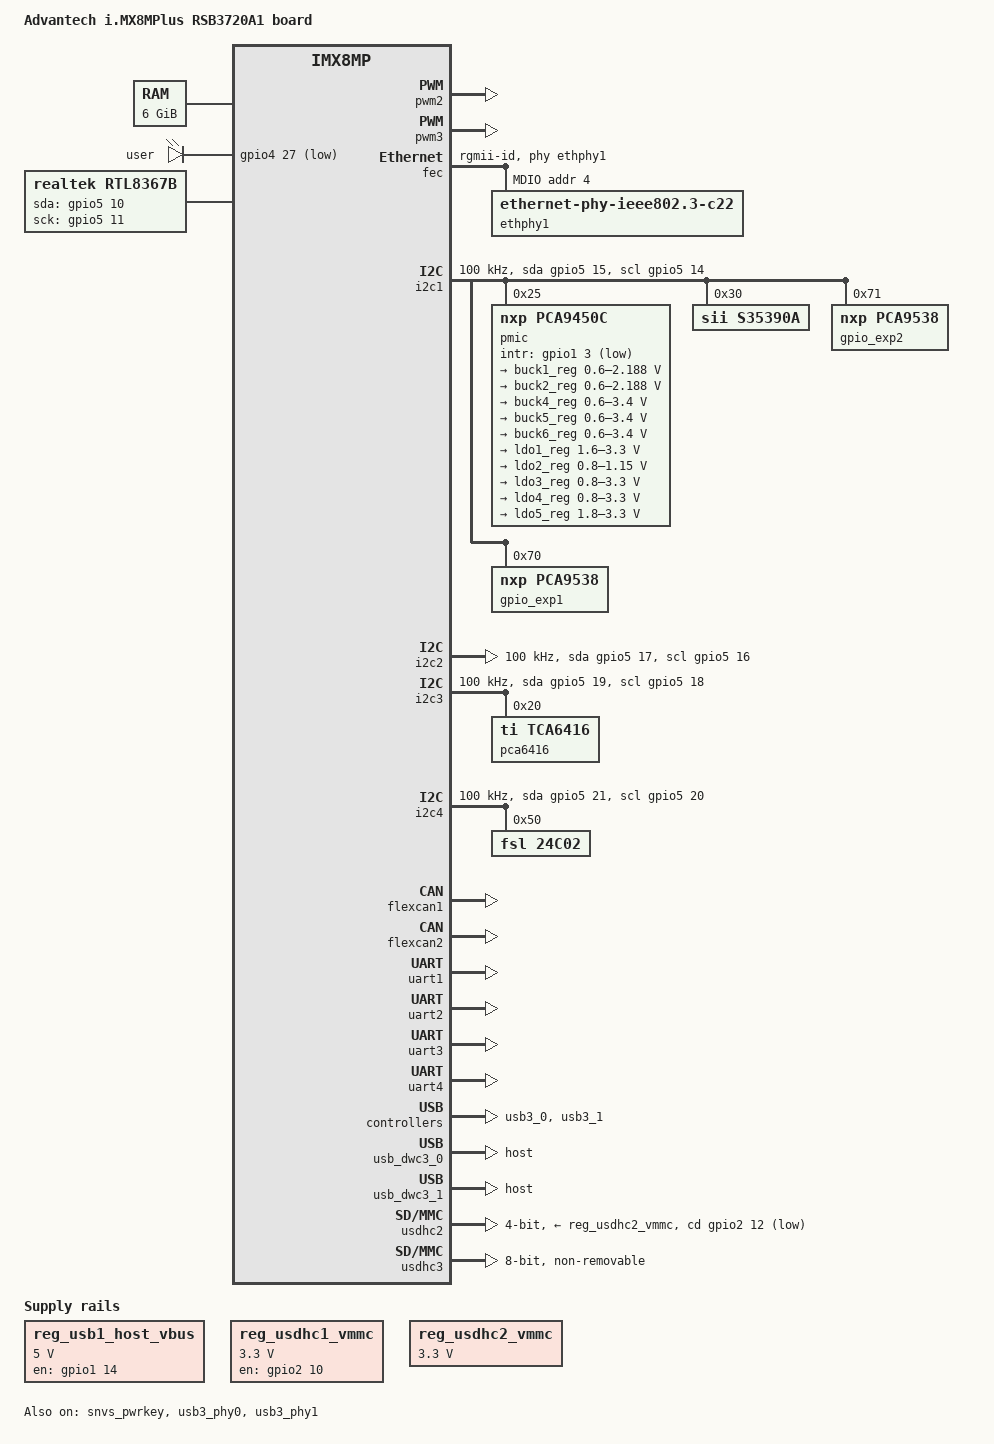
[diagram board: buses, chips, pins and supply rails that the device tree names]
// SPDX-License-Identifier: (GPL-2.0+ OR MIT)
/*
 * Copyright 2019 NXP
 * Copyright 2022 Linaro
 */

/dts-v1/;

#include <dt-bindings/usb/pd.h>
#include "imx8mp.dtsi"

/ {
	model = "Advantech i.MX8MPlus RSB3720A1 board";
	compatible = "fsl,imx8mp-evk", "fsl,imx8mp";

	aliases {
		rtc0 = &s35390a;
		rtc1 = &snvs_rtc;
	};

	chosen {
		stdout-path = &uart3;
	};

	memory@40000000 {
		device_type = "memory";
		reg = <0x0 0x40000000 0 0xc0000000>,
		      <0x1 0x00000000 0 0xc0000000>;
	};

	reserved-memory {
		#address-cells = <2>;
		#size-cells = <2>;
		ranges;

		rpmsg_reserved: rpmsg@0x55800000 {
			no-map;
			reg = <0 0x55800000 0 0x800000>;
		};
	};

	leds {
		compatible = "gpio-leds";
		pinctrl-names = "default";
		pinctrl-0 = <&pinctrl_gpio_led>;

		user {
			label = "user";
			gpios = <&gpio4 27 GPIO_ACTIVE_LOW>;
			default-state = "off"; /* LED BLUE */
		};
	};

	reg_usb1_host_vbus: regulator-usb1-vbus {
		compatible = "regulator-fixed";
		regulator-name = "usb1_host_vbus";
		pinctrl-names = "default";
		pinctrl-0 = <&pinctrl_usb1_vbus>;
		regulator-min-microvolt = <5000000>;
		regulator-max-microvolt = <5000000>;
		gpio = <&gpio1 14 GPIO_ACTIVE_HIGH>;
		enable-active-high;
		regulator-always-on;
	};

	reg_usdhc1_vmmc: regulator-usdhc1 {
		compatible = "regulator-fixed";
		regulator-name = "WLAN_EN";
		regulator-min-microvolt = <3300000>;
		regulator-max-microvolt = <3300000>;
		gpio = <&gpio2 10 GPIO_ACTIVE_HIGH>;
		enable-active-high;
		startup-delay-us = <100>;
		off-on-delay-us = <12000>;
	};

	reg_usdhc2_vmmc: regulator-usdhc2 {
		compatible = "regulator-fixed";
		regulator-name = "VSD_3V3";
		regulator-min-microvolt = <3300000>;
		regulator-max-microvolt = <3300000>;
		//gpio = <&gpio2 19 GPIO_ACTIVE_HIGH>;
		enable-active-high;
		startup-delay-us = <100>;
		off-on-delay-us = <12000>;
	};

	lvds_backlight0: lvds_backlight@0 {
		compatible = "pwm-backlight";
		pwms = <&pwm2 0 5000000>;
		status = "disabled";

		brightness-levels = < 0  1  2  3  4  5  6  7  8  9
				     10 11 12 13 14 15 16 17 18 19
				     20 21 22 23 24 25 26 27 28 29
				     30 31 32 33 34 35 36 37 38 39
				     40 41 42 43 44 45 46 47 48 49
				     50 51 52 53 54 55 56 57 58 59
				     60 61 62 63 64 65 66 67 68 69
				     70 71 72 73 74 75 76 77 78 79
				     80 81 82 83 84 85 86 87 88 89
				     90 91 92 93 94 95 96 97 98 99
				    100>;
		default-brightness-level = <80>;
	};

	lvds_backlight1: lvds_backlight@1 {
		compatible = "pwm-backlight";
		pwms = <&pwm3 0 5000000>;
		status = "disabled";

		brightness-levels = < 0  1  2  3  4  5  6  7  8  9
				     10 11 12 13 14 15 16 17 18 19
				     20 21 22 23 24 25 26 27 28 29
				     30 31 32 33 34 35 36 37 38 39
				     40 41 42 43 44 45 46 47 48 49
				     50 51 52 53 54 55 56 57 58 59
				     60 61 62 63 64 65 66 67 68 69
				     70 71 72 73 74 75 76 77 78 79
				     80 81 82 83 84 85 86 87 88 89
				     90 91 92 93 94 95 96 97 98 99
				    100>;
		default-brightness-level = <80>;
	};

	rtl8367 {
		compatible = "realtek,rtl8367b";
		pinctrl-names = "default";
		gpio-sda = <&gpio5 10 GPIO_ACTIVE_HIGH>;
		gpio-sck = <&gpio5 11 GPIO_ACTIVE_HIGH>;
		realtek,extif0 = <1 0 1 1 1 1 1 1 2>;
	};
};

&clk {
	init-on-array = <IMX8MP_CLK_HSIO_ROOT>;
};

&A53_0 {
	cpu-supply = <&buck2_reg>;
};

&pwm2 {
	pinctrl-names = "default";
	pinctrl-0 = <&pinctrl_pwm2>;
	#pwm-cells = <2>;
	status = "okay";
};

&pwm3 {
	pinctrl-names = "default";
	pinctrl-0 = <&pinctrl_pwm3>;
	#pwm-cells = <2>;
	status = "okay";
};

&fec {
	pinctrl-names = "default";
	pinctrl-0 = <&pinctrl_fec>;
	phy-mode = "rgmii-id";
	phy-handle = <&ethphy1>;
	fsl,magic-packet;
	status = "okay";

	mdio {
		#address-cells = <1>;
		#size-cells = <0>;

		ethphy1: ethernet-phy@4 {
			compatible = "ethernet-phy-ieee802.3-c22";
			reg = <4>;
			at803x,eee-disabled;
			at803x,vddio-1p8v;
		};
	};
};

&i2c1 {
	clock-frequency = <100000>;
	pinctrl-names = "default", "gpio";
	pinctrl-0 = <&pinctrl_i2c1>;
	pinctrl-1 = <&pinctrl_i2c1_gpio>;
	scl-gpios = <&gpio5 14 GPIO_ACTIVE_HIGH>;
	sda-gpios = <&gpio5 15 GPIO_ACTIVE_HIGH>;
	status = "okay";

	pmic: pca9450@25 {
		reg = <0x25>;
		compatible = "nxp,pca9450c", "nxp,pca9450b", "nxp,pca9450";
		/* PMIC PCA9450 PMIC_nINT GPIO1_IO3 */
		pinctrl-0 = <&pinctrl_pmic>;
		gpio_intr = <&gpio1 3 GPIO_ACTIVE_LOW>;

		regulators {
			#address-cells = <1>;
			#size-cells = <0>;

			pca9450,pmic-buck2-uses-i2c-dvs;
			/* Run/Standby voltage */
			pca9450,pmic-buck2-dvs-voltage = <950000>, <850000>;

			buck1_reg: regulator@0 {
				reg = <0>;
				regulator-compatible = "buck1";
				regulator-min-microvolt = <600000>;
				regulator-max-microvolt = <2187500>;
				regulator-boot-on;
				regulator-always-on;
				regulator-ramp-delay = <3125>;
			};

			buck2_reg: regulator@1 {
				reg = <1>;
				regulator-compatible = "buck2";
				regulator-min-microvolt = <600000>;
				regulator-max-microvolt = <2187500>;
				regulator-boot-on;
				regulator-always-on;
				regulator-ramp-delay = <3125>;
			};

			buck4_reg: regulator@3 {
				reg = <3>;
				regulator-compatible = "buck4";
				regulator-min-microvolt = <600000>;
				regulator-max-microvolt = <3400000>;
				regulator-boot-on;
				regulator-always-on;
			};

			buck5_reg: regulator@4 {
				reg = <4>;
				regulator-compatible = "buck5";
				regulator-min-microvolt = <600000>;
				regulator-max-microvolt = <3400000>;
				regulator-boot-on;
				regulator-always-on;
			};

			buck6_reg: regulator@5 {
				reg = <5>;
				regulator-compatible = "buck6";
				regulator-min-microvolt = <600000>;
				regulator-max-microvolt = <3400000>;
				regulator-boot-on;
				regulator-always-on;
			};

			ldo1_reg: regulator@6 {
				reg = <6>;
				regulator-compatible = "ldo1";
				regulator-min-microvolt = <1600000>;
				regulator-max-microvolt = <3300000>;
				regulator-boot-on;
				regulator-always-on;
			};

			ldo2_reg: regulator@7 {
				reg = <7>;
				regulator-compatible = "ldo2";
				regulator-min-microvolt = <800000>;
				regulator-max-microvolt = <1150000>;
				regulator-boot-on;
				regulator-always-on;
			};

			ldo3_reg: regulator@8 {
				reg = <8>;
				regulator-compatible = "ldo3";
				regulator-min-microvolt = <800000>;
				regulator-max-microvolt = <3300000>;
				regulator-boot-on;
				regulator-always-on;
			};

			ldo4_reg: regulator@9 {
				reg = <9>;
				regulator-compatible = "ldo4";
				regulator-min-microvolt = <800000>;
				regulator-max-microvolt = <3300000>;
				regulator-boot-on;
				regulator-always-on;
			};

			ldo5_reg: regulator@10 {
				reg = <10>;
				regulator-compatible = "ldo5";
				regulator-min-microvolt = <1800000>;
				regulator-max-microvolt = <3300000>;
			};
		};
	};

	s35390a: s35390a@30 {
		compatible = "sii,s35390a", "sii,s35392a";
		reg = <0x30>;
		status = "okay";
	};

	gpio_exp2: tca9538@71 {
		compatible = "nxp,pca9538";
		reg = <0x71>;
		gpio-controller;
		#gpio-cells = <2>;
	};

	gpio_exp1: tca9538@70 {
		compatible = "nxp,pca9538";
		reg = <0x70>;
		gpio-controller;
		#gpio-cells = <2>;
	};
};

&i2c2 {
	clock-frequency = <100000>;
	pinctrl-names = "default", "gpio";
	pinctrl-0 = <&pinctrl_i2c2>;
	pinctrl-1 = <&pinctrl_i2c2_gpio>;
	scl-gpios = <&gpio5 16 GPIO_ACTIVE_HIGH>;
	sda-gpios = <&gpio5 17 GPIO_ACTIVE_HIGH>;
	status = "okay";
};

&i2c3 {
	clock-frequency = <100000>;
	pinctrl-names = "default", "gpio";
	pinctrl-0 = <&pinctrl_i2c3>;
	pinctrl-1 = <&pinctrl_i2c3_gpio>;
	scl-gpios = <&gpio5 18 GPIO_ACTIVE_HIGH>;
	sda-gpios = <&gpio5 19 GPIO_ACTIVE_HIGH>;
	status = "okay";

	pca6416: gpio@20 {
		compatible = "ti,tca6416";
		reg = <0x20>;
		gpio-controller;
		#gpio-cells = <2>;
	};
};

&i2c4 {
	clock-frequency = <100000>;
	pinctrl-names = "default", "gpio";
	pinctrl-0 = <&pinctrl_i2c4>;
	pinctrl-1 = <&pinctrl_i2c4_gpio>;
	scl-gpios = <&gpio5 20 GPIO_ACTIVE_HIGH>;
	sda-gpios = <&gpio5 21 GPIO_ACTIVE_HIGH>;
	status = "okay";

	24c02@50 {
		compatible = "fsl,24c02";
		reg = <0x50>;
	};
};

&snvs_pwrkey {
	status = "okay";
};

&flexcan1 {
	pinctrl-names = "default";
	pinctrl-0 = <&pinctrl_flexcan1>;
	status = "okay";
};

&flexcan2 {
	pinctrl-names = "default";
	pinctrl-0 = <&pinctrl_flexcan2>;
	status = "okay";
};

&uart1 { /* BT */
	pinctrl-names = "default";
	pinctrl-0 = <&pinctrl_uart1>;
	assigned-clocks = <&clk IMX8MP_CLK_UART1>;
	assigned-clock-parents = <&clk IMX8MP_SYS_PLL1_80M>;
	fsl,uart-has-rtscts;
	status = "okay";
};

&uart2 {
	pinctrl-names = "default";
	pinctrl-0 = <&pinctrl_uart2>;
	status = "okay";
};

&uart3 {
	/* console */
	pinctrl-names = "default";
	pinctrl-0 = <&pinctrl_uart3>;
	assigned-clocks = <&clk IMX8MP_CLK_UART3>;
	assigned-clock-parents = <&clk IMX8MP_SYS_PLL1_80M>;
	fsl,uart-has-rtscts;
	status = "okay";
};

&uart4 {
	pinctrl-names = "default";
	pinctrl-0 = <&pinctrl_uart4>;
	status = "okay";
};

&usb3_phy0 {
	fsl,phy-tx-vref-tune = <6>;
	fsl,phy-tx-rise-tune = <0>;
	fsl,phy-tx-preemp-amp-tune = <3>;
	fsl,phy-comp-dis-tune = <7>;
	fsl,pcs-tx-deemph-3p5db = <0x21>;
	fsl,phy-pcs-tx-swing-full = <0x7f>;
	status = "okay";
};

&usb3_0 {
	status = "okay";
};

&usb_dwc3_0 {
	dr_mode = "host";
	status = "okay";
};

&usb3_phy1 {
	fsl,phy-tx-preemp-amp-tune = <2>;
	status = "okay";
};

&usb3_1 {
	status = "okay";
};

&usb_dwc3_1 {
	dr_mode = "host";
	status = "okay";
};

&usdhc2 {
	pinctrl-names = "default", "state_100mhz", "state_200mhz";
	pinctrl-0 = <&pinctrl_usdhc2>, <&pinctrl_usdhc2_gpio>;
	pinctrl-1 = <&pinctrl_usdhc2_100mhz>, <&pinctrl_usdhc2_gpio>;
	pinctrl-2 = <&pinctrl_usdhc2_200mhz>, <&pinctrl_usdhc2_gpio>;
	cd-gpios = <&gpio2 12 GPIO_ACTIVE_LOW>;
	vmmc-supply = <&reg_usdhc2_vmmc>;
	bus-width = <4>;
	status = "okay";
};

&usdhc3 {
	pinctrl-names = "default", "state_100mhz", "state_200mhz";
	pinctrl-0 = <&pinctrl_usdhc3>;
	pinctrl-1 = <&pinctrl_usdhc3_100mhz>;
	pinctrl-2 = <&pinctrl_usdhc3_200mhz>;
	bus-width = <8>;
	cqe-disabled;
	non-removable;
	status = "okay";
};

&wdog1 {
	pinctrl-names = "default";
	pinctrl-0 = <&pinctrl_wdog>;
	fsl,ext-reset-output;
	status = "disabled";
};

&iomuxc {
	pinctrl-names = "default";

	pinctrl_pwm2: pwm2grp {
		fsl,pins = <
			MX8MP_IOMUXC_SAI5_RXD0__PWM2_OUT	0x116
		>;
	};

	pinctrl_pwm3: pwm3grp {
		fsl,pins = <
			MX8MP_IOMUXC_SAI5_RXC__PWM3_OUT		0x116
		>;
	};

	pinctrl_eqos: eqosgrp {
		fsl,pins = <
			MX8MP_IOMUXC_ENET_MDC__ENET_QOS_MDC	0x3
			MX8MP_IOMUXC_ENET_MDIO__ENET_QOS_MDIO	0x3
			MX8MP_IOMUXC_ENET_RD0__ENET_QOS_RGMII_RD0	0x91
			MX8MP_IOMUXC_ENET_RD1__ENET_QOS_RGMII_RD1	0x91
			MX8MP_IOMUXC_ENET_RD2__ENET_QOS_RGMII_RD2	0x91
			MX8MP_IOMUXC_ENET_RD3__ENET_QOS_RGMII_RD3	0x91
			MX8MP_IOMUXC_ENET_RXC__CCM_ENET_QOS_CLOCK_GENERATE_RX_CLK	0x91
			MX8MP_IOMUXC_ENET_RX_CTL__ENET_QOS_RGMII_RX_CTL	0x91
			MX8MP_IOMUXC_ENET_TD0__ENET_QOS_RGMII_TD0		0x1f
			MX8MP_IOMUXC_ENET_TD1__ENET_QOS_RGMII_TD1		0x1f
			MX8MP_IOMUXC_ENET_TD2__ENET_QOS_RGMII_TD2		0x1f
			MX8MP_IOMUXC_ENET_TD3__ENET_QOS_RGMII_TD3		0x1f
			MX8MP_IOMUXC_ENET_TX_CTL__ENET_QOS_RGMII_TX_CTL	0x1f
			MX8MP_IOMUXC_ENET_TXC__CCM_ENET_QOS_CLOCK_GENERATE_TX_CLK	0x1f
			MX8MP_IOMUXC_SAI2_RXC__GPIO4_IO22		0x19
		>;
	};

	pinctrl_fec: fecgrp {
		fsl,pins = <
			MX8MP_IOMUXC_SAI1_RXD2__ENET1_MDC		0x3
			MX8MP_IOMUXC_SAI1_RXD3__ENET1_MDIO		0x3
			MX8MP_IOMUXC_SAI1_RXD4__ENET1_RGMII_RD0		0x91
			MX8MP_IOMUXC_SAI1_RXD5__ENET1_RGMII_RD1		0x91
			MX8MP_IOMUXC_SAI1_RXD6__ENET1_RGMII_RD2		0x91
			MX8MP_IOMUXC_SAI1_RXD7__ENET1_RGMII_RD3		0x91
			MX8MP_IOMUXC_SAI1_TXC__ENET1_RGMII_RXC		0x91
			MX8MP_IOMUXC_SAI1_TXFS__ENET1_RGMII_RX_CTL	0x91
			MX8MP_IOMUXC_SAI1_TXD0__ENET1_RGMII_TD0		0x1f
			MX8MP_IOMUXC_SAI1_TXD1__ENET1_RGMII_TD1		0x1f
			MX8MP_IOMUXC_SAI1_TXD2__ENET1_RGMII_TD2		0x1f
			MX8MP_IOMUXC_SAI1_TXD3__ENET1_RGMII_TD3		0x1f
			MX8MP_IOMUXC_SAI1_TXD4__ENET1_RGMII_TX_CTL	0x1f
			MX8MP_IOMUXC_SAI1_TXD5__ENET1_RGMII_TXC		0x1f
			MX8MP_IOMUXC_SAI1_RXD0__GPIO4_IO02		0x19
		>;
	};

	pinctrl_flexcan1: flexcan1grp {
		fsl,pins = <
			MX8MP_IOMUXC_SPDIF_RX__CAN1_RX          0x154
			MX8MP_IOMUXC_SPDIF_TX__CAN1_TX          0x154
		>;
	};

	pinctrl_flexcan2: flexcan2grp {
		fsl,pins = <
			MX8MP_IOMUXC_SAI5_MCLK__CAN2_RX		0x154
			MX8MP_IOMUXC_SAI5_RXD3__CAN2_TX		0x154
		>;
	};

	pinctrl_flexspi0: flexspi0grp {
		fsl,pins = <
			MX8MP_IOMUXC_NAND_ALE__FLEXSPI_A_SCLK		0x1c2
			MX8MP_IOMUXC_NAND_CE0_B__FLEXSPI_A_SS0_B	0x82
			MX8MP_IOMUXC_NAND_DATA00__FLEXSPI_A_DATA00	0x82
			MX8MP_IOMUXC_NAND_DATA01__FLEXSPI_A_DATA01	0x82
			MX8MP_IOMUXC_NAND_DATA02__FLEXSPI_A_DATA02	0x82
			MX8MP_IOMUXC_NAND_DATA03__FLEXSPI_A_DATA03	0x82
		>;
	};

	pinctrl_gpio_led: gpioledgrp {
		fsl,pins = <
			MX8MP_IOMUXC_SAI2_MCLK__GPIO4_IO27	0x19
		>;
	};

	pinctrl_i2c1: i2c1grp {
		fsl,pins = <
			MX8MP_IOMUXC_I2C1_SCL__I2C1_SCL		0x400001c3
			MX8MP_IOMUXC_I2C1_SDA__I2C1_SDA		0x400001c3
		>;
	};

	pinctrl_i2c2: i2c2grp {
		fsl,pins = <
			MX8MP_IOMUXC_I2C2_SCL__I2C2_SCL		0x400001c3
			MX8MP_IOMUXC_I2C2_SDA__I2C2_SDA		0x400001c3
		>;
	};

	pinctrl_i2c3: i2c3grp {
		fsl,pins = <
			MX8MP_IOMUXC_I2C3_SCL__I2C3_SCL		0x400001c3
			MX8MP_IOMUXC_I2C3_SDA__I2C3_SDA		0x400001c3
		>;
	};

	pinctrl_i2c4: i2c4grp {
		fsl,pins = <
			MX8MP_IOMUXC_ECSPI2_MISO__I2C4_SCL	0x400001c3
			MX8MP_IOMUXC_ECSPI2_SS0__I2C4_SDA	0x400001c3
		>;
	};

	pinctrl_i2c1_gpio: i2c1grp-gpio {
		fsl,pins = <
			MX8MP_IOMUXC_I2C1_SCL__GPIO5_IO14		0x1c3
			MX8MP_IOMUXC_I2C1_SDA__GPIO5_IO15		0x1c3
		>;
	};

	pinctrl_i2c2_gpio: i2c2grp-gpio {
		fsl,pins = <
			MX8MP_IOMUXC_I2C2_SCL__GPIO5_IO16		0x1c3
			MX8MP_IOMUXC_I2C2_SDA__GPIO5_IO17		0x1c3
		>;
	};

	pinctrl_i2c3_gpio: i2c3grp-gpio {
		fsl,pins = <
			MX8MP_IOMUXC_I2C3_SCL__GPIO5_IO18		0x1c3
			MX8MP_IOMUXC_I2C3_SDA__GPIO5_IO19		0x1c3
		>;
	};

	pinctrl_i2c4_gpio: i2c4_gpio_grp  {
		fsl,pins = <
			MX8MP_IOMUXC_I2C4_SCL__GPIO5_IO20		0x1c3
			MX8MP_IOMUXC_I2C4_SDA__GPIO5_IO21		0x1c3
		>;
	};

	pinctrl_pmic: pmicirq {
		fsl,pins = <
			MX8MP_IOMUXC_GPIO1_IO03__GPIO1_IO03	0x41
		>;
	};

	pinctrl_sai2: sai2grp {
		fsl,pins = <
			MX8MP_IOMUXC_SAI2_TXFS__AUDIOMIX_SAI2_TX_SYNC	0xd6
			MX8MP_IOMUXC_SAI2_TXC__AUDIOMIX_SAI2_TX_BCLK	0xd6
			MX8MP_IOMUXC_SAI2_RXD0__AUDIOMIX_SAI2_RX_DATA00	0xd6
			MX8MP_IOMUXC_SAI2_TXD0__AUDIOMIX_SAI2_TX_DATA00	0xd6
		>;
	};

	pinctrl_sai3: sai3grp {
		fsl,pins = <
			MX8MP_IOMUXC_SAI3_TXFS__AUDIOMIX_SAI3_TX_SYNC	0xd6
			MX8MP_IOMUXC_SAI3_TXC__AUDIOMIX_SAI3_TX_BCLK	0xd6
			MX8MP_IOMUXC_SAI3_RXD__AUDIOMIX_SAI3_RX_DATA00	0xd6
			MX8MP_IOMUXC_SAI3_TXD__AUDIOMIX_SAI3_TX_DATA00	0xd6
			MX8MP_IOMUXC_SAI3_MCLK__AUDIOMIX_SAI3_MCLK	0xd6
		>;
	};

	pinctrl_uart1: uart1grp {
		fsl,pins = <
			MX8MP_IOMUXC_UART1_RXD__UART1_DCE_RX	0x140
			MX8MP_IOMUXC_UART1_TXD__UART1_DCE_TX	0x140
			MX8MP_IOMUXC_UART3_RXD__UART1_DCE_CTS	0x140
			MX8MP_IOMUXC_UART3_TXD__UART1_DCE_RTS	0x140
		>;
	};

	pinctrl_uart2: uart2grp {
		fsl,pins = <
			MX8MP_IOMUXC_UART2_RXD__UART2_DCE_RX	0x49
			MX8MP_IOMUXC_UART2_TXD__UART2_DCE_TX	0x49
		>;
	};

	pinctrl_uart3: uart3grp {
		fsl,pins = <
			MX8MP_IOMUXC_ECSPI1_SCLK__UART3_DCE_RX		0x140
			MX8MP_IOMUXC_ECSPI1_MOSI__UART3_DCE_TX		0x140
			MX8MP_IOMUXC_ECSPI1_SS0__UART3_DCE_RTS		0x140
			MX8MP_IOMUXC_ECSPI1_MISO__UART3_DCE_CTS		0x140
		>;
	};

	pinctrl_uart4: uart4grp {
		fsl,pins = <
			MX8MP_IOMUXC_UART4_RXD__UART4_DCE_RX	0x49
			MX8MP_IOMUXC_UART4_TXD__UART4_DCE_TX	0x49
		>;
	};

	pinctrl_usb1_vbus: usb1grp {
		fsl,pins = <
			MX8MP_IOMUXC_GPIO1_IO14__GPIO1_IO14	0x19
		>;
	};

	pinctrl_usdhc1: usdhc1grp {
		fsl,pins = <
			MX8MP_IOMUXC_SD1_CLK__USDHC1_CLK	0x190
			MX8MP_IOMUXC_SD1_CMD__USDHC1_CMD	0x1d0
			MX8MP_IOMUXC_SD1_DATA0__USDHC1_DATA0	0x1d0
			MX8MP_IOMUXC_SD1_DATA1__USDHC1_DATA1	0x1d0
			MX8MP_IOMUXC_SD1_DATA2__USDHC1_DATA2	0x1d0
			MX8MP_IOMUXC_SD1_DATA3__USDHC1_DATA3	0x1d0
		>;
	};

	pinctrl_usdhc1_gpio: usdhc1gpiogrp {
		fsl,pins = <
			MX8MP_IOMUXC_SD1_RESET_B__GPIO2_IO10	0x19
			MX8MP_IOMUXC_SD1_STROBE__GPIO2_IO11	0x19
		>;
	};

	pinctrl_usdhc1_100mhz: usdhc1grp-100mhz {
		fsl,pins = <
			MX8MP_IOMUXC_SD1_CLK__USDHC1_CLK	0x194
			MX8MP_IOMUXC_SD1_CMD__USDHC1_CMD	0x1d4
			MX8MP_IOMUXC_SD1_DATA0__USDHC1_DATA0	0x1d4
			MX8MP_IOMUXC_SD1_DATA1__USDHC1_DATA1	0x1d4
			MX8MP_IOMUXC_SD1_DATA2__USDHC1_DATA2	0x1d4
			MX8MP_IOMUXC_SD1_DATA3__USDHC1_DATA3	0x1d4
		>;
	};

	pinctrl_usdhc1_200mhz: usdhc1grp-200mhz {
		fsl,pins = <
			MX8MP_IOMUXC_SD1_CLK__USDHC1_CLK	0x196
			MX8MP_IOMUXC_SD1_CMD__USDHC1_CMD	0x1d6
			MX8MP_IOMUXC_SD1_DATA0__USDHC1_DATA0	0x1d6
			MX8MP_IOMUXC_SD1_DATA1__USDHC1_DATA1	0x1d6
			MX8MP_IOMUXC_SD1_DATA2__USDHC1_DATA2	0x1d6
			MX8MP_IOMUXC_SD1_DATA3__USDHC1_DATA3	0x1d6
		>;
	};

	pinctrl_usdhc2: usdhc2grp {
		fsl,pins = <
			MX8MP_IOMUXC_SD2_CLK__USDHC2_CLK	0x190
			MX8MP_IOMUXC_SD2_CMD__USDHC2_CMD	0x1d0
			MX8MP_IOMUXC_SD2_DATA0__USDHC2_DATA0	0x1d0
			MX8MP_IOMUXC_SD2_DATA1__USDHC2_DATA1	0x1d0
			MX8MP_IOMUXC_SD2_DATA2__USDHC2_DATA2	0x1d0
			MX8MP_IOMUXC_SD2_DATA3__USDHC2_DATA3	0x1d0
			MX8MP_IOMUXC_GPIO1_IO04__USDHC2_VSELECT	0xc1
		>;
	};

	pinctrl_usdhc2_100mhz: usdhc2grp-100mhz {
		fsl,pins = <
			MX8MP_IOMUXC_SD2_CLK__USDHC2_CLK	0x194
			MX8MP_IOMUXC_SD2_CMD__USDHC2_CMD	0x1d4
			MX8MP_IOMUXC_SD2_DATA0__USDHC2_DATA0	0x1d4
			MX8MP_IOMUXC_SD2_DATA1__USDHC2_DATA1	0x1d4
			MX8MP_IOMUXC_SD2_DATA2__USDHC2_DATA2	0x1d4
			MX8MP_IOMUXC_SD2_DATA3__USDHC2_DATA3	0x1d4
			MX8MP_IOMUXC_GPIO1_IO04__USDHC2_VSELECT 0xc1
		>;
	};

	pinctrl_usdhc2_200mhz: usdhc2grp-200mhz {
		fsl,pins = <
			MX8MP_IOMUXC_SD2_CLK__USDHC2_CLK	0x196
			MX8MP_IOMUXC_SD2_CMD__USDHC2_CMD	0x1d6
			MX8MP_IOMUXC_SD2_DATA0__USDHC2_DATA0	0x1d6
			MX8MP_IOMUXC_SD2_DATA1__USDHC2_DATA1	0x1d6
			MX8MP_IOMUXC_SD2_DATA2__USDHC2_DATA2	0x1d6
			MX8MP_IOMUXC_SD2_DATA3__USDHC2_DATA3	0x1d6
			MX8MP_IOMUXC_GPIO1_IO04__USDHC2_VSELECT 0xc1
		>;
	};

	pinctrl_usdhc2_gpio: usdhc2grp-gpio {
		fsl,pins = <
			MX8MP_IOMUXC_SD2_CD_B__GPIO2_IO12	0x1c4
			MX8MP_IOMUXC_SD2_RESET_B__GPIO2_IO19	0x41
		>;
	};

	pinctrl_usdhc3: usdhc3grp {
		fsl,pins = <
			MX8MP_IOMUXC_NAND_WE_B__USDHC3_CLK	0x190
			MX8MP_IOMUXC_NAND_WP_B__USDHC3_CMD	0x1d0
			MX8MP_IOMUXC_NAND_DATA04__USDHC3_DATA0	0x1d0
			MX8MP_IOMUXC_NAND_DATA05__USDHC3_DATA1	0x1d0
			MX8MP_IOMUXC_NAND_DATA06__USDHC3_DATA2	0x1d0
			MX8MP_IOMUXC_NAND_DATA07__USDHC3_DATA3	0x1d0
			MX8MP_IOMUXC_NAND_RE_B__USDHC3_DATA4	0x1d0
			MX8MP_IOMUXC_NAND_CE2_B__USDHC3_DATA5	0x1d0
			MX8MP_IOMUXC_NAND_CE3_B__USDHC3_DATA6	0x1d0
			MX8MP_IOMUXC_NAND_CLE__USDHC3_DATA7	0x1d0
			MX8MP_IOMUXC_NAND_CE1_B__USDHC3_STROBE	0x190
		>;
	};

	pinctrl_usdhc3_100mhz: usdhc3grp-100mhz {
		fsl,pins = <
			MX8MP_IOMUXC_NAND_WE_B__USDHC3_CLK	0x194
			MX8MP_IOMUXC_NAND_WP_B__USDHC3_CMD	0x1d4
			MX8MP_IOMUXC_NAND_DATA04__USDHC3_DATA0	0x1d4
			MX8MP_IOMUXC_NAND_DATA05__USDHC3_DATA1	0x1d4
			MX8MP_IOMUXC_NAND_DATA06__USDHC3_DATA2	0x1d4
			MX8MP_IOMUXC_NAND_DATA07__USDHC3_DATA3	0x1d4
			MX8MP_IOMUXC_NAND_RE_B__USDHC3_DATA4	0x1d4
			MX8MP_IOMUXC_NAND_CE2_B__USDHC3_DATA5	0x1d4
			MX8MP_IOMUXC_NAND_CE3_B__USDHC3_DATA6	0x1d4
			MX8MP_IOMUXC_NAND_CLE__USDHC3_DATA7	0x1d4
			MX8MP_IOMUXC_NAND_CE1_B__USDHC3_STROBE	0x194
		>;
	};

	pinctrl_usdhc3_200mhz: usdhc3grp-200mhz {
		fsl,pins = <
			MX8MP_IOMUXC_NAND_WE_B__USDHC3_CLK	0x196
			MX8MP_IOMUXC_NAND_WP_B__USDHC3_CMD	0x1d6
			MX8MP_IOMUXC_NAND_DATA04__USDHC3_DATA0	0x1d6
			MX8MP_IOMUXC_NAND_DATA05__USDHC3_DATA1	0x1d6
			MX8MP_IOMUXC_NAND_DATA06__USDHC3_DATA2	0x1d6
			MX8MP_IOMUXC_NAND_DATA07__USDHC3_DATA3	0x1d6
			MX8MP_IOMUXC_NAND_RE_B__USDHC3_DATA4	0x1d6
			MX8MP_IOMUXC_NAND_CE2_B__USDHC3_DATA5	0x1d6
			MX8MP_IOMUXC_NAND_CE3_B__USDHC3_DATA6	0x1d6
			MX8MP_IOMUXC_NAND_CLE__USDHC3_DATA7	0x1d6
			MX8MP_IOMUXC_NAND_CE1_B__USDHC3_STROBE	0x196
		>;
	};

	pinctrl_wdog: wdoggrp {
		fsl,pins = <
			MX8MP_IOMUXC_GPIO1_IO02__WDOG1_WDOG_B	0xc6
		>;
	};
};
